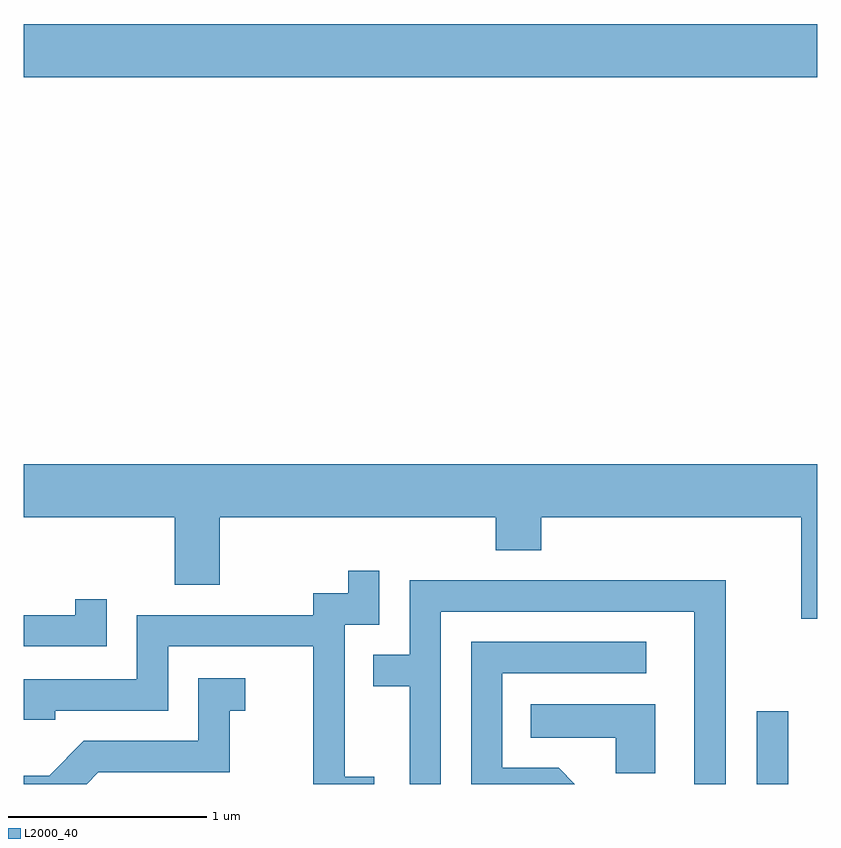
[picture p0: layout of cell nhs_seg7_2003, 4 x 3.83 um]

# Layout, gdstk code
import gdstk
lib = gdstk.Library(unit=1e-6, precision=1e-09)
def R(c, l, rs):  # rectangles x0, y0, x1, y1
    for r in rs: c.add(gdstk.rectangle(r[:2], r[2:], *l))
def P(c, l, *ps):  # polygons
    for p in ps: c.add(gdstk.Polygon(p, *l))
L2000_40 = (2000, 40)

nhs_seg7_2003 = lib.new_cell('nhs_seg7_2003')
R(nhs_seg7_2003, L2000_40, [(249.306,1766.252,249.464,1766.618), (245.611,1769.816,249.611,1770.084)])
P(nhs_seg7_2003, L2000_40, [(249.611,1767.864),(245.611,1767.864),(245.611,1767.596),(246.371,1767.596),(246.371,1767.256),(246.599,1767.256),(246.599,1767.596),(247.991,1767.596),(247.991,1767.431),(248.219,1767.431),(248.219,1767.596),(249.531,1767.596),(249.531,1767.086),(249.611,1767.086)],
  [(247.379,1766.289),(247.229,1766.289),(247.229,1767.056),(247.404,1767.056),(247.404,1767.328),(247.246,1767.328),(247.246,1767.214),(247.071,1767.214),(247.071,1767.104),(246.181,1767.104),(246.181,1766.779),(245.611,1766.779),(245.611,1766.576),(245.769,1766.576),(245.769,1766.621),(246.339,1766.621),(246.339,1766.946),(247.071,1766.946),(247.071,1766.252),(247.379,1766.252)],
  [(247.714,1767.121),(248.991,1767.121),(248.991,1766.252),(249.149,1766.252),(249.149,1767.279),(247.556,1767.279),(247.556,1766.904),(247.373,1766.904),(247.373,1766.746),(247.556,1766.746),(247.556,1766.252),(247.714,1766.252)],
  [(246.029,1767.183),(245.871,1767.183),(245.871,1767.104),(245.611,1767.104),(245.611,1766.946),(246.029,1766.946)],
  [(248.307,1766.334),(248.024,1766.334),(248.024,1766.811),(248.748,1766.811),(248.748,1766.969),(247.866,1766.969),(247.866,1766.252),(248.389,1766.252)],
  [(245.987,1766.311),(246.649,1766.311),(246.649,1766.621),(246.728,1766.621),(246.728,1766.784),(246.491,1766.784),(246.491,1766.469),(245.914,1766.469),(245.739,1766.294),(245.611,1766.294),(245.611,1766.252),(245.928,1766.252)],
  [(248.794,1766.654),(248.168,1766.654),(248.168,1766.486),(248.596,1766.486),(248.596,1766.306),(248.794,1766.306)])

lib.write_gds('nhs_seg7_2003.gds')
